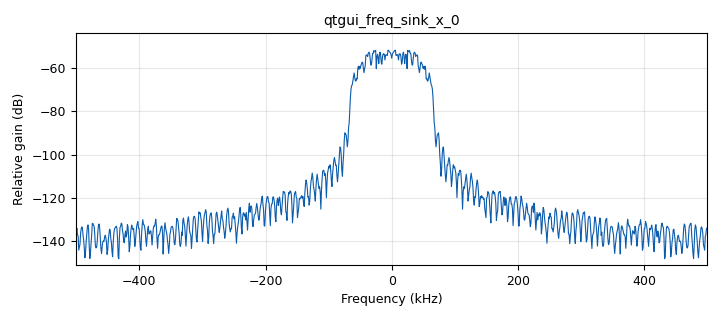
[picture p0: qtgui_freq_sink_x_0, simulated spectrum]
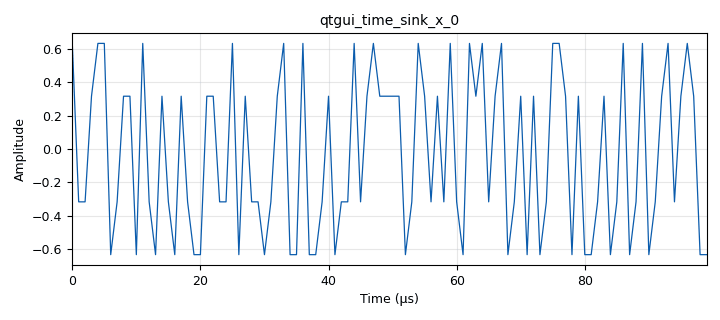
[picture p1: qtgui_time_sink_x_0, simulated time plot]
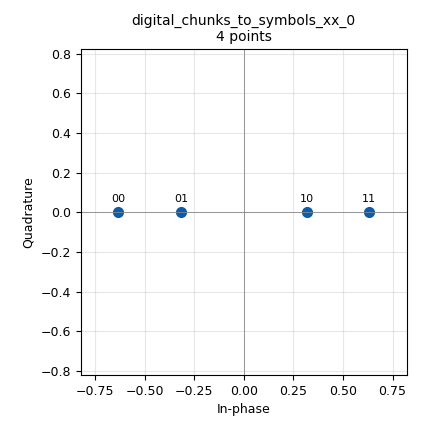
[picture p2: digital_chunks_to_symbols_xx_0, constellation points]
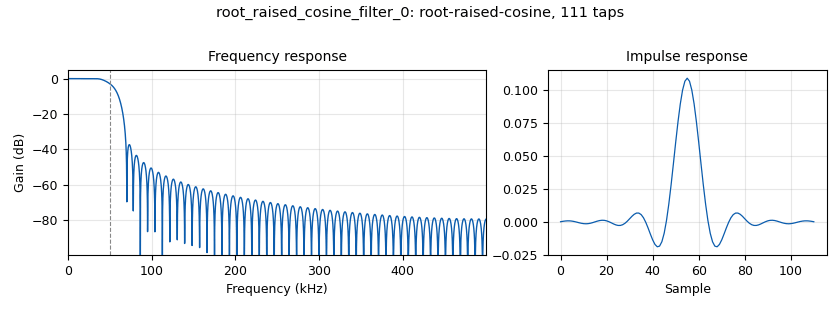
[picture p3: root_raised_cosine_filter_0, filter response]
<?xml version='1.0' encoding='utf-8'?>
<?grc format='1' created='3.7.10'?>
<flow_graph>
<block>
<key>options</key>
<param><key>id</key><value>top_block</value></param>
<param><key>category</key><value>Custom</value></param>
<param><key>generate_options</key><value>qt_gui</value></param>
</block>
<block>
<key>variable</key>
<param><key>id</key><value>M2</value></param>
<param><key>value</key><value>(-1/math.sqrt(2),1/math.sqrt(2))</value></param>
</block>
<block>
<key>variable</key>
<param><key>id</key><value>M4</value></param>
<param><key>value</key><value>(-2/math.sqrt(10),-1/math.sqrt(10),1/math.sqrt(10),2/math.sqrt(10))</value></param>
</block>
<block>
<key>variable</key>
<param><key>id</key><value>rolloff</value></param>
<param><key>value</key><value>.35</value></param>
</block>
<block>
<key>variable</key>
<param><key>id</key><value>samp_rate</value></param>
<param><key>value</key><value>1e6</value></param>
</block>
<block>
<key>variable</key>
<param><key>id</key><value>sps</value></param>
<param><key>value</key><value>10</value></param>
</block>
<block>
<key>analog_random_source_x</key>
<param><key>id</key><value>analog_random_source_x_0</value></param>
<param><key>max</key><value>4</value></param>
<param><key>min</key><value>0</value></param>
<param><key>num_samps</key><value>10000</value></param>
<param><key>type</key><value>byte</value></param>
<param><key>repeat</key><value>True</value></param>
</block>
<block>
<key>digital_chunks_to_symbols_xx</key>
<param><key>id</key><value>digital_chunks_to_symbols_xx_0</value></param>
<param><key>dimension</key><value>1</value></param>
<param><key>in_type</key><value>byte</value></param>
<param><key>out_type</key><value>float</value></param>
<param><key>symbol_table</key><value>M4</value></param>
</block>
<block>
<key>import</key>
<param><key>id</key><value>import_0</value></param>
<param><key>import</key><value>import math</value></param>
</block>
<block>
<key>qtgui_freq_sink_x</key>
<param><key>id</key><value>qtgui_freq_sink_x_0</value></param>
<param><key>autoscale</key><value>True</value></param>
<param><key>average</key><value>0.2</value></param>
<param><key>bw</key><value>samp_rate</value></param>
<param><key>fc</key><value>0</value></param>
<param><key>fftsize</key><value>1024</value></param>
<param><key>grid</key><value>True</value></param>
<param><key>showports</key><value>True</value></param>
<param><key>type</key><value>float</value></param>
<param><key>wintype</key><value>firdes.WIN_BLACKMAN_hARRIS</value></param>
</block>
<block>
<key>qtgui_time_sink_x</key>
<param><key>id</key><value>qtgui_time_sink_x_0</value></param>
<param><key>autoscale</key><value>True</value></param>
<param><key>grid</key><value>True</value></param>
<param><key>color1</key><value>"blue"</value></param>
<param><key>label1</key><value></value></param>
<param><key>size</key><value>100</value></param>
<param><key>srate</key><value>samp_rate</value></param>
<param><key>type</key><value>float</value></param>
</block>
<block>
<key>root_raised_cosine_filter</key>
<param><key>id</key><value>root_raised_cosine_filter_0</value></param>
<param><key>alpha</key><value>rolloff</value></param>
<param><key>type</key><value>interp_fir_filter_fff</value></param>
<param><key>gain</key><value>1</value></param>
<param><key>interp</key><value>sps</value></param>
<param><key>ntaps</key><value>11*sps</value></param>
<param><key>samp_rate</key><value>samp_rate</value></param>
<param><key>sym_rate</key><value>samp_rate/sps</value></param>
</block>
<connection><source_block_id>analog_random_source_x_0</source_block_id><sink_block_id>digital_chunks_to_symbols_xx_0</sink_block_id><source_key>0</source_key><sink_key>0</sink_key></connection>
<connection><source_block_id>digital_chunks_to_symbols_xx_0</source_block_id><sink_block_id>qtgui_time_sink_x_0</sink_block_id><source_key>0</source_key><sink_key>0</sink_key></connection>
<connection><source_block_id>digital_chunks_to_symbols_xx_0</source_block_id><sink_block_id>root_raised_cosine_filter_0</sink_block_id><source_key>0</source_key><sink_key>0</sink_key></connection>
<connection><source_block_id>root_raised_cosine_filter_0</source_block_id><sink_block_id>qtgui_freq_sink_x_0</sink_block_id><source_key>0</source_key><sink_key>0</sink_key></connection>
</flow_graph>
